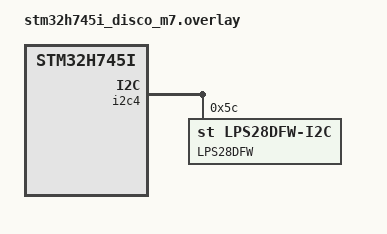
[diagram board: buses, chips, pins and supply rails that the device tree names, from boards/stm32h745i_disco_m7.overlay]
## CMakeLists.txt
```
# SPDX-License-Identifier: Apache-2.0

cmake_minimum_required(VERSION 3.20.0)

set(BOARD "stm32h745i_disco/stm32h745xx/m7")

find_package(Zephyr REQUIRED HINTS $ENV{ZEPHYR_BASE})
project(lps2xdf)

FILE(GLOB app_sources src/*.c)
target_sources(app PRIVATE ${app_sources})
```

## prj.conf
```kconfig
# SPDX-License-Identifier: Apache-2.0

CONFIG_STDOUT_CONSOLE=y
CONFIG_I2C=y
CONFIG_SENSOR=y
CONFIG_LPS2XDF=y
CONFIG_CBPRINTF_FP_SUPPORT=y
```

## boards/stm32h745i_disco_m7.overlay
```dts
// SPDX-License-Identifier: Apache-2.0

&i2c4 {
	status = "okay";
	lps28dfw@5c {
		compatible = "st,lps28dfw-i2c";
		reg = <0x5c>;
		label = "LPS28DFW";
		status = "okay";
	};
};
```

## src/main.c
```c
/*
* Copyright (c) 2017 Linaro Limited
 * Copyright (c) 2019 Nordic Semiconductor ASA
 *
 * SPDX-License-Identifier: Apache-2.0
 */

#include <zephyr/kernel.h>
#include <zephyr/device.h>
#include <zephyr/drivers/sensor.h>
#include <stdio.h>
#include <zephyr/sys/util.h>

static void process_sample(const struct device *dev)
{
	static unsigned int obs;
	struct sensor_value pressure, temp;

	if (sensor_sample_fetch(dev) < 0) {
		printf("Sensor sample update error\n");
		return;
	}

	if (sensor_channel_get(dev, SENSOR_CHAN_PRESS, &pressure) < 0) {
		printf("Cannot read LPS22HH pressure channel\n");
		return;
	}

	if (sensor_channel_get(dev, SENSOR_CHAN_AMBIENT_TEMP, &temp) < 0) {
		printf("Cannot read LPS22HH temperature channel\n");
		return;
	}

	++obs;
	printf("Observation: %u\n", obs);

	/* display pressure */
	printf("Pressure: %.3f kPa\n", sensor_value_to_double(&pressure));

	/* display temperature */
	printf("Temperature: %.2f C\n", sensor_value_to_double(&temp));
}

static void lps22hh_handler(const struct device *dev,
				const struct sensor_trigger *trig)
{
	process_sample(dev);
}

int main(void)
{
	const struct device *dev = DEVICE_DT_GET_ANY(st_lps28dfw);

	if (!dev) {
		printk("Device pointer NULL\n");
		return 0;
	}

	printk("Device found: %s\n", dev->name);

	if (!device_is_ready(dev)) {
		printk("Device exists but init failed\n");
	}

	const struct sensor_value odr = {
		.val1 = 10,   // 10 Hz
	};

	sensor_attr_set(dev,
					SENSOR_CHAN_ALL,
					SENSOR_ATTR_SAMPLING_FREQUENCY,
					&odr);

	k_sleep(K_MSEC(100));

	while (true) {
		process_sample(dev);
		k_sleep(K_MSEC(2000));
	}
}
```
